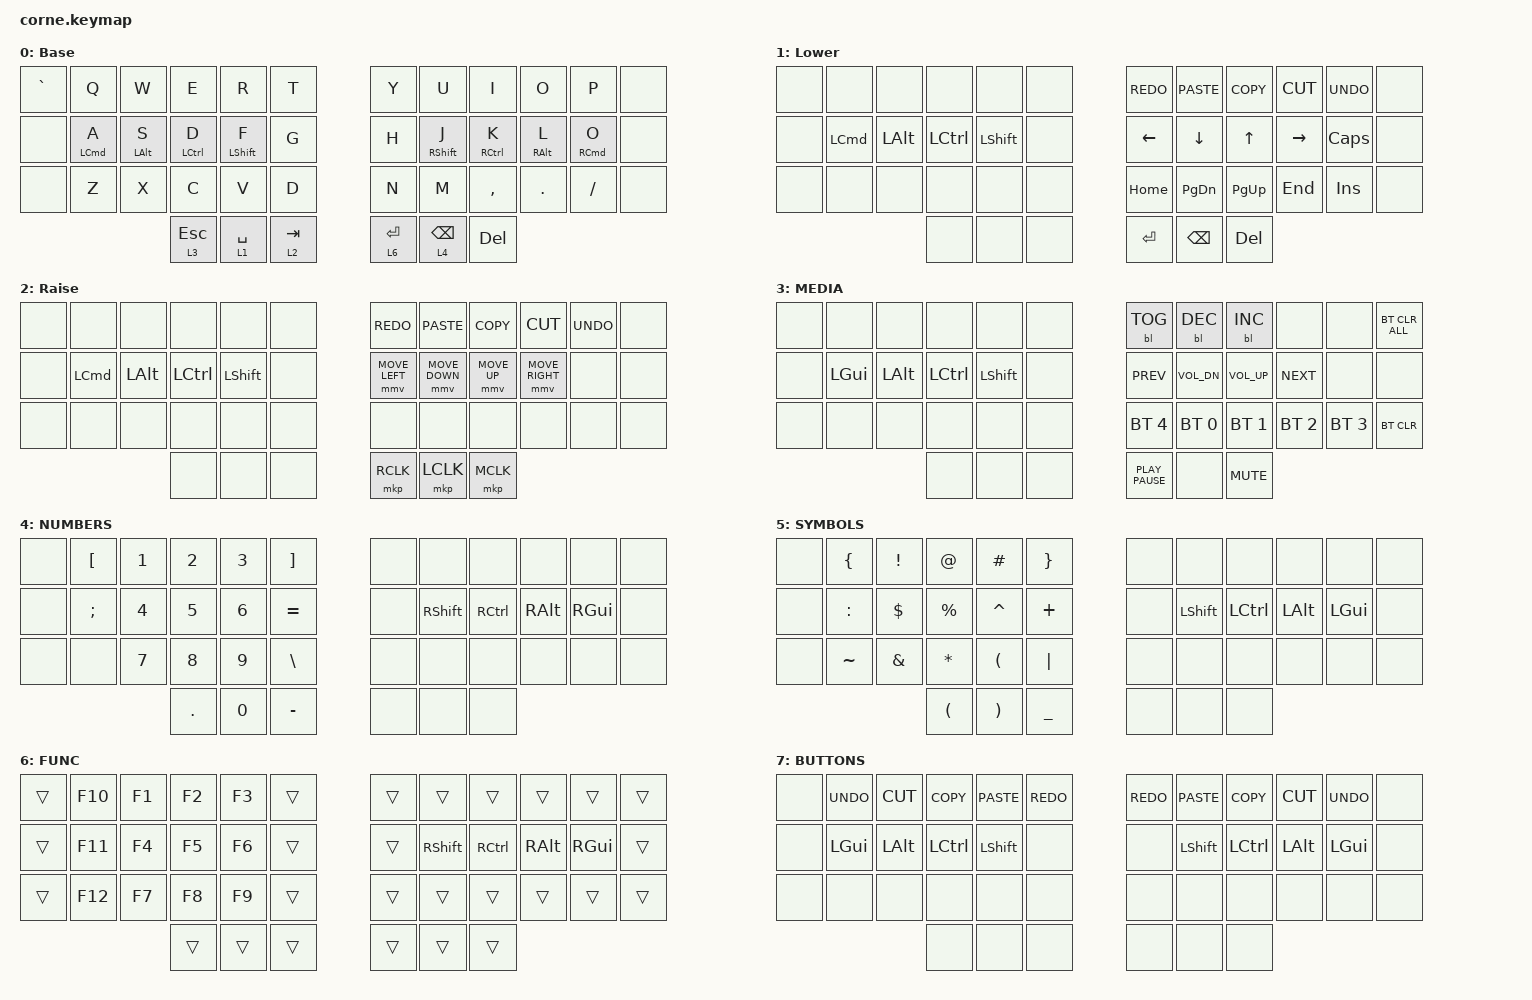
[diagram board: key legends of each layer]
/*
 * Copyright (c) 2020 The ZMK Contributors
 *
 * SPDX-License-Identifier: MIT
 */

#include <behaviors.dtsi>
#include <dt-bindings/zmk/backlight.h>
#include <dt-bindings/zmk/bt.h>
#include <dt-bindings/zmk/keys.h>
#include <dt-bindings/zmk/pointing.h>

/ {
    behaviors {
        HRM_L: HRM_L {
            compatible = "zmk,behavior-hold-tap";
            label = "HRM_L";
            bindings = <&kp>, <&kp>;

            #binding-cells = <2>;
            tapping-term-ms = <280>;
            quick-tap-ms = <175>;
            flavor = "tap-preferred";
            hold-trigger-on-release;
            hold-trigger-key-positions = <0 1 2 3 4 5 12 13 14 15 16 17 24 25 26 27 28 29 36 37 38 39 40 41>;
        };

        HRM_R: HRM_R {
            compatible = "zmk,behavior-hold-tap";
            label = "HRM_R";
            bindings = <&kp>, <&kp>;

            #binding-cells = <2>;
            tapping-term-ms = <280>;
            quick-tap-ms = <175>;
            flavor = "tap-preferred";
            hold-trigger-on-release;
            hold-trigger-key-positions = <6 7 8 9 10 11 18 19 20 21 22 23 30 31 32 33 34 35 39 40 41 36 37 38>;
        };
    };

    keymap {
        compatible = "zmk,keymap";

        LETTERS {
            // -----------------------------------------------------------------------------------------
            // |  TAB |  Q  |  W  |  E  |  R  |  T  |   |  Y  |  U   |  I  |  O  |  P  | BKSP |
            // | CTRL |  A  |  S  |  D  |  F  |  G  |   |  H  |  J   |  K  |  L  |  ;  |  '   |
            // | SHFT |  Z  |  X  |  C  |  V  |  B  |   |  N  |  M   |  ,  |  .  |  /  | ESC  |
            //                    | GUI | LWR | SPC |   | ENT | RSE  | ALT |

            display-name = "Base";
            bindings = <
&kp GRAVE  &kp Q                  &kp W              &kp E                  &kp R                &kp T        &kp Y      &kp U                 &kp I                   &kp O               &kp P                   &none
&none      &HRM_L LEFT_COMMAND A  &HRM_L LEFT_ALT S  &HRM_L LEFT_CONTROL D  &HRM_L LEFT_SHIFT F  &kp G        &kp H      &HRM_R RIGHT_SHIFT J  &HRM_R RIGHT_CONTROL K  &HRM_R RIGHT_ALT L  &HRM_R RIGHT_COMMAND O  &none
&none      &kp Z                  &kp X              &kp C                  &kp V                &kp D        &kp N      &kp M                 &kp COMMA               &kp DOT             &kp FSLH                &none
                                                     &lt 3 ESCAPE           &lt 1 SPACE          &lt 2 TAB    &lt 6 RET  &lt 4 BACKSPACE       &kp DELETE
            >;
        };

        NAV {
            // -----------------------------------------------------------------------------------------
            // |  TAB |  1  |  2  |  3  |  4  |  5  |   |  6  |  7  |  8  |  9  |  0  | BKSP |
            // | BTCLR| BT1 | BT2 | BT3 | BT4 | BT5 |   | LFT | DWN |  UP | RGT |     |      |
            // | SHFT |     |     |     |     |     |   |     |     |     |     |     |      |
            //                    | GUI |     | SPC |   | ENT |     | ALT |

            display-name = "Lower";
            bindings = <
&none  &none             &none         &none             &none           &none    &kp K_REDO  &kp K_PASTE    &kp K_COPY   &kp K_CUT  &kp K_UNDO    &none
&none  &kp LEFT_COMMAND  &kp LEFT_ALT  &kp LEFT_CONTROL  &kp LEFT_SHIFT  &none    &kp LEFT    &kp DOWN       &kp UP       &kp RIGHT  &kp CAPSLOCK  &none
&none  &none             &none         &none             &none           &none    &kp HOME    &kp PAGE_DOWN  &kp PAGE_UP  &kp END    &kp INSERT    &none
                                       &none             &none           &none    &kp RET     &kp BACKSPACE  &kp DELETE
            >;
        };

        MOUSE {
            // -----------------------------------------------------------------------------------------
            // |  TAB |  !  |  @  |  #  |  $  |  %  |   |  ^  |  &  |  *  |  (  |  )  | BKSP |
            // | CTRL |     |     |     |     |     |   |  -  |  =  |  [  |  ]  |  \  |  `   |
            // | SHFT |     |     |     |     |     |   |  _  |  +  |  {  |  }  | "|" |  ~   |
            //                    | GUI |     | SPC |   | ENT |     | ALT |

            display-name = "Raise";
            bindings = <
&none  &none             &none         &none             &none           &none    &kp K_REDO      &kp K_PASTE     &kp K_COPY    &kp K_CUT        &kp K_UNDO  &none
&none  &kp LEFT_COMMAND  &kp LEFT_ALT  &kp LEFT_CONTROL  &kp LEFT_SHIFT  &none    &mmv MOVE_LEFT  &mmv MOVE_DOWN  &mmv MOVE_UP  &mmv MOVE_RIGHT  &none       &none
&none  &none             &none         &none             &none           &none    &none           &none           &none         &none            &none       &none
                                       &none             &none           &none    &mkp RCLK       &mkp LCLK       &mkp MCLK
            >;
        };

        MEDIA {
            bindings = <
&none  &none     &none     &none      &none      &none    &bl BL_TOG        &bl BL_DEC    &bl BL_INC    &none         &none         &bt BT_CLR_ALL
&none  &kp LGUI  &kp LALT  &kp LCTRL  &kp LSHFT  &none    &kp C_PREV        &kp C_VOL_DN  &kp C_VOL_UP  &kp C_NEXT    &none         &none
&none  &none     &none     &none      &none      &none    &bt BT_SEL 4      &bt BT_SEL 0  &bt BT_SEL 1  &bt BT_SEL 2  &bt BT_SEL 3  &bt BT_CLR
                           &none      &none      &none    &kp K_PLAY_PAUSE  &none         &kp K_MUTE
            >;
        };

        NUMBERS {
            bindings = <
&none  &kp LBKT  &kp N1  &kp N2   &kp N3  &kp RBKT     &none  &none      &none      &none     &none     &none
&none  &kp SEMI  &kp N4  &kp N5   &kp N6  &kp EQUAL    &none  &kp RSHFT  &kp RCTRL  &kp RALT  &kp RGUI  &none
&none  &none     &kp N7  &kp N8   &kp N9  &kp BSLH     &none  &none      &none      &none     &none     &none
                         &kp DOT  &kp N0  &kp MINUS    &none  &none      &none
            >;
        };

        SYMBOLS {
            bindings = <
&none  &kp LEFT_BRACE  &kp EXCLAMATION  &kp AT_SIGN           &kp HASH               &kp RIGHT_BRACE    &none  &none      &none      &none     &none     &none
&none  &kp COLON       &kp DOLLAR       &kp PERCENT           &kp CARET              &kp PLUS           &none  &kp LSHFT  &kp LCTRL  &kp LALT  &kp LGUI  &none
&none  &kp TILDE       &kp AMPERSAND    &kp ASTERISK          &kp LEFT_PARENTHESIS   &kp PIPE           &none  &none      &none      &none     &none     &none
                                        &kp LEFT_PARENTHESIS  &kp RIGHT_PARENTHESIS  &kp UNDERSCORE     &none  &none      &none
            >;
        };

        FUNC {
            bindings = <
&trans  &kp F10  &kp F1  &kp F2  &kp F3  &trans    &trans  &trans     &trans     &trans    &trans    &trans
&trans  &kp F11  &kp F4  &kp F5  &kp F6  &trans    &trans  &kp RSHFT  &kp RCTRL  &kp RALT  &kp RGUI  &trans
&trans  &kp F12  &kp F7  &kp F8  &kp F9  &trans    &trans  &trans     &trans     &trans    &trans    &trans
                         &trans  &trans  &trans    &trans  &trans     &trans
            >;
        };

        BUTTONS {
            bindings = <
&none  &kp K_UNDO  &kp K_CUT  &kp K_COPY  &kp K_PASTE  &kp K_REDO    &kp K_REDO  &kp K_PASTE  &kp K_COPY  &kp K_CUT  &kp K_UNDO  &none
&none  &kp LGUI    &kp LALT   &kp LCTRL   &kp LSHFT    &none         &none       &kp LSHFT    &kp LCTRL   &kp LALT   &kp LGUI    &none
&none  &none       &none      &none       &none        &none         &none       &none        &none       &none      &none       &none
                              &none       &none        &none         &none       &none        &none
            >;
        };

        bad1 { status = "reserved"; };

        bad2 { status = "reserved"; };

        bad3 { status = "reserved"; };
    };
};
